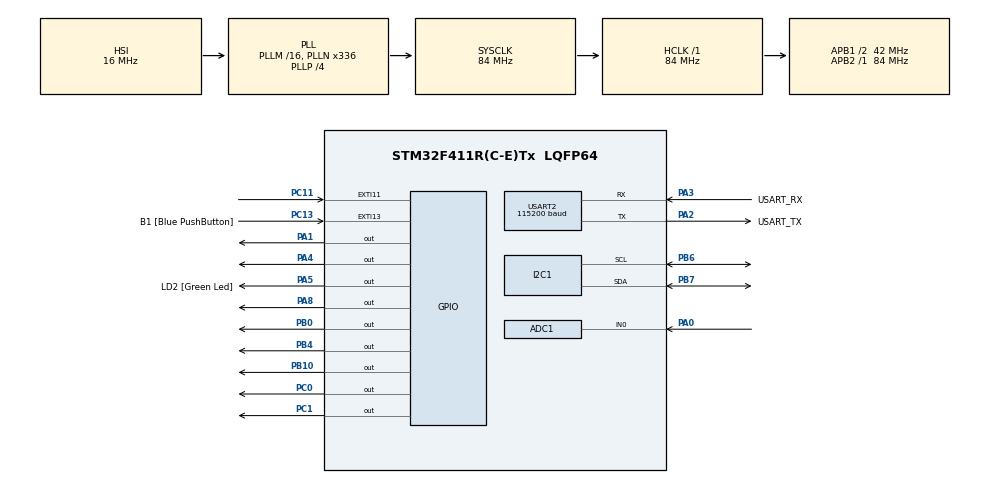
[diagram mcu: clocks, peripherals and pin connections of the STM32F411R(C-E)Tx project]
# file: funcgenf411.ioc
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ADC1.Channel-0\#ChannelRegularConversion=ADC_CHANNEL_0
ADC1.NbrOfConversion=1
ADC1.NbrOfConversionFlag=1
ADC1.Rank-0\#ChannelRegularConversion=1
ADC1.SamplingTime-0\#ChannelRegularConversion=ADC_SAMPLETIME_3CYCLES
ADC1.ScanConvMode=ENABLE
ADC1.master=1
I2C1.I2C_Mode=I2C_Fast
Mcu.Family=STM32F4
Mcu.Name=STM32F411R(C-E)Tx
Mcu.Package=LQFP64
NVIC.EXTI15_10_IRQn=true\:0\:0\:false\:false\:true\:true\:true\:true
NVIC.PriorityGroup=NVIC_PRIORITYGROUP_0
NVIC.TIM1_UP_TIM10_IRQn=true\:0\:0\:false\:false\:true\:true\:true\:true
NVIC.TIM3_IRQn=true\:0\:0\:false\:false\:true\:true\:true\:true
PA0-WKUP.Signal=ADCx_IN0
PA1.Signal=GPIO_Output
PA13.GPIO_Label=TMS
PA13.Mode=Serial_Wire
PA13.Signal=SYS_JTMS-SWDIO
PA14.GPIO_Label=TCK
PA14.Mode=Serial_Wire
PA14.Signal=SYS_JTCK-SWCLK
PA2.GPIO_Label=USART_TX
PA2.Mode=Asynchronous
PA2.Signal=USART2_TX
PA3.GPIO_Label=USART_RX
PA3.Mode=Asynchronous
PA3.Signal=USART2_RX
PA4.Signal=GPIO_Output
PA5.GPIO_Label=LD2 [Green Led]
PA5.Signal=GPIO_Output
PA8.GPIO_ModeDefaultOutputPP=GPIO_MODE_OUTPUT_PP
PA8.GPIO_PuPd=GPIO_NOPULL
PA8.PinState=GPIO_PIN_RESET
PA8.Signal=GPIO_Output
PB0.Signal=GPIO_Output
PB10.GPIO_ModeDefaultOutputPP=GPIO_MODE_OUTPUT_PP
PB10.GPIO_PuPd=GPIO_NOPULL
PB10.PinState=GPIO_PIN_RESET
PB10.Signal=GPIO_Output
PB3.GPIO_Label=SWO
PB3.Signal=SYS_JTDO-SWO
PB4.GPIO_ModeDefaultOutputPP=GPIO_MODE_OUTPUT_PP
PB4.GPIO_PuPd=GPIO_NOPULL
PB4.PinState=GPIO_PIN_RESET
PB4.Signal=GPIO_Output
PB6.Mode=I2C
PB6.Signal=I2C1_SCL
PB7.Mode=I2C
PB7.Signal=I2C1_SDA
PC0.Signal=GPIO_Output
PC1.Signal=GPIO_Output
PC11.GPIO_ModeDefaultEXTI=GPIO_MODE_IT_FALLING
PC11.GPIO_PuPd=GPIO_PULLUP
PC11.Signal=GPXTI11
PC13-ANTI_TAMP.GPIO_Label=B1 [Blue PushButton]
PC13-ANTI_TAMP.GPIO_ModeDefaultEXTI=GPIO_MODE_IT_FALLING
PC13-ANTI_TAMP.Signal=GPXTI13
PC14-OSC32_IN.Mode=LSE-External-Oscillator
PC14-OSC32_IN.Signal=RCC_OSC32_IN
PC15-OSC32_OUT.Mode=LSE-External-Oscillator
PC15-OSC32_OUT.Signal=RCC_OSC32_OUT
PH0\ -\ OSC_IN.Mode=HSE-External-Clock-Source
PH0\ -\ OSC_IN.Signal=RCC_OSC_IN
PH1\ -\ OSC_OUT.Mode=HSE-External-Clock-Source
PH1\ -\ OSC_OUT.Signal=RCC_OSC_OUT
ProjectManager.HeapSize=0x200
ProjectManager.StackSize=0x400
ProjectManager.TargetToolchain=STM32CubeIDE
RCC.48MHZClocksFreq_Value=84000000
RCC.AHBFreq_Value=84000000
RCC.APB1CLKDivider=RCC_HCLK_DIV2
RCC.APB1Freq_Value=42000000
RCC.APB1TimFreq_Value=84000000
RCC.APB2Freq_Value=84000000
RCC.APB2TimFreq_Value=84000000
RCC.CortexFreq_Value=84000000
RCC.FLatency-AdvancedSettings=FLASH_LATENCY_2
RCC.HCLKFreq_Value=84000000
RCC.HSE_VALUE=8000000
RCC.HSI_VALUE=16000000
RCC.PLLN=336
RCC.PLLP=RCC_PLLP_DIV4
RCC.SYSCLKFreq_VALUE=84000000
RCC.SYSCLKSource=RCC_SYSCLKSOURCE_PLLCLK
RCC.VCOOutputFreq_Value=336000000
SH.ADCx_IN0.0=ADC1_IN0,IN0
TIM1.ClockDivision=TIM_CLOCKDIVISION_DIV1
TIM1.Period=1023
TIM1.Prescaler=84
TIM1.RepetitionCounter=0
TIM3.Period=10000
TIM3.Prescaler=8400
USART2.BaudRate=115200
USART2.VirtualMode=VM_ASYNC
VP_TIM1_VS_ClockSourceINT.Mode=Internal
VP_TIM3_VS_ClockSourceINT.Mode=Internal
board=NUCLEO-F411RE

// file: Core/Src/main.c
/* USER CODE BEGIN Header */
/**
  ******************************************************************************
  * @file           : main.c
  * @brief          : Main program body
  ******************************************************************************
  * @attention
  *
  * Copyright (c) 2025 STMicroelectronics.
  * All rights reserved.
  *
  * This software is licensed under terms that can be found in the LICENSE file
  * in the root directory of this software component.
  * If no LICENSE file comes with this software, it is provided AS-IS.
  *
  ******************************************************************************
  */
/* USER CODE END Header */
#include "main.h"

/* USER CODE BEGIN Includes */
#include "ssd1306.h"
#include "fonts.h"
#include "stdio.h"
/* USER CODE END Includes */

ADC_HandleTypeDef hadc1;

I2C_HandleTypeDef hi2c1;

TIM_HandleTypeDef htim1;
TIM_HandleTypeDef htim3;

UART_HandleTypeDef huart2;

/* USER CODE BEGIN PV */

// sin lookup table from -pi/2 to pi/2 - normalized so that values are between 0 and 1
float sinlookup[256] = {3.7649080427748505e-05, 0.00015059065189787502, 0.0003388077058252281, 0.0006022718974137975, 0.0009409435499254104, 0.0013547716606548965,
0.0018436939086109994, 0.002407636663901591, 0.0030465149988219697, 0.0037602327006450165, 0.004548682286109995,
0.005411745017609493, 0.006349290921070783, 0.007361178805529389, 0.008447256284391857, 0.009607359798384785,
0.010841314640186173, 0.012148934980735715, 0.013530023897219967, 0.014984373402728013, 0.016511764477573965,
0.01811196710228008, 0.019784740292217107, 0.021529832133895532, 0.023346979822903124, 0.025235909703481663,
0.02719633730973936, 0.029227967408489597, 0.031330494043712576, 0.03350360058263058, 0.035746959763392205,
0.03806023374435663, 0.040443074154971115, 0.042895122148234655, 0.04541600845473881, 0.04800535343827833,
0.05066276715302309, 0.05338784940224234, 0.05618018979857303, 0.05903936782582253, 0.0619649529022967,
0.06495650444564433, 0.06801357193920665, 0.07113569499986394, 0.0743224034473674, 0.07757321737514644,
0.08088764722258102, 0.08426519384872738, 0.08770534860748735, 0.09120759342420814, 0.09477140087370262,
0.09839623425967758, 0.10208154769555827, 0.10582678618669689, 0.10963138571395276, 0.11349477331863156,
0.11741636718877052, 0.12139557674675772, 0.12543180273827037, 0.12952443732252045, 0.1336728641637936,
0.13787645852426655, 0.1421345873580907, 0.14644660940672627, 0.15081187529551354, 0.15522972763146659,
0.1596995011022735, 0.16422052257649083, 0.1687921112049141, 0.17341357852311162, 0.1780842285551043,
0.18280335791817726, 0.18757025592880683, 0.1923842047096866, 0.19724447929783723, 0.20215034775378332,
0.20710107127178057, 0.21209590429107733, 0.21713409460819344, 0.2222148834901989, 0.22733750578897677,
0.23250119005645137, 0.23770515866076558, 0.24294862790338917, 0.2482308081371412, 0.253550903885108,
0.2589081139604386, 0.26430163158700115, 0.26973064452088, 0.27519433517269676, 0.28069188073073614,
0.28622245328485896, 0.29178521995118134, 0.2973793429975051, 0.303003979969476, 0.3086582838174551,
0.3143414030240812, 0.3200524817325059, 0.3257906598752828, 0.33155507330389, 0.33734485391886854,
0.34315912980055424, 0.3489970253403859, 0.35485766137276886, 0.3607401553074735, 0.3666436212625508,
0.3725671701977427, 0.37850991004836804, 0.3844709458596644, 0.39044937992156514, 0.39644431190389073,
0.4024548389919359, 0.4084800560224295, 0.41451905561984936, 0.4205709283330693, 0.42663476277231915,
0.4327096457464369, 0.4387946624003919, 0.44488889635305845, 0.45099142983521967, 0.4571013438277801,
0.46321771820016633, 0.4693396318488957, 0.47546616283629095, 0.4815963885293205, 0.4877293857385439,
0.49386423085714004, 0.5, 0.50613576914286, 0.5122706142614561, 0.5184036114706795,
0.524533837163709, 0.5306603681511043, 0.5367822817998337, 0.5428986561722199, 0.5490085701647803,
0.5551111036469416, 0.5612053375996081, 0.5672903542535631, 0.5733652372276808, 0.5794290716669307,
0.5854809443801506, 0.5915199439775705, 0.5975451610080641, 0.6035556880961093, 0.6095506200784349,
0.6155290541403355, 0.621490089951632, 0.6274328298022573, 0.6333563787374492, 0.6392598446925265,
0.6451423386272311, 0.6510029746596141, 0.6568408701994457, 0.6626551460811314, 0.66844492669611,
0.6742093401247172, 0.6799475182674941, 0.6856585969759188, 0.6913417161825449, 0.6969960200305241,
0.7026206570024949, 0.7082147800488185, 0.7137775467151409, 0.7193081192692637, 0.7248056648273034,
0.7302693554791201, 0.7356983684129988, 0.7410918860395614, 0.746449096114892, 0.7517691918628588,
0.7570513720966108, 0.7622948413392344, 0.7674988099435485, 0.7726624942110232, 0.7777851165098011,
0.7828659053918067, 0.7879040957089227, 0.7928989287282194, 0.7978496522462166, 0.8027555207021628,
0.8076157952903134, 0.8124297440711932, 0.8171966420818226, 0.8219157714448957, 0.8265864214768883,
0.831207888795086, 0.8357794774235092, 0.8403004988977265, 0.8447702723685335, 0.8491881247044865,
0.8535533905932737, 0.8578654126419093, 0.8621235414757334, 0.8663271358362064, 0.8704755626774795,
0.8745681972617296, 0.8786044232532424, 0.8825836328112295, 0.8865052266813684, 0.8903686142860472,
0.8941732138133032, 0.8979184523044417, 0.9016037657403224, 0.9052285991262974, 0.9087924065757917,
0.9122946513925125, 0.9157348061512727, 0.919112352777419, 0.9224267826248536, 0.9256775965526326,
0.9288643050001361, 0.9319864280607933, 0.9350434955543556, 0.9380350470977032, 0.9409606321741775,
0.9438198102014269, 0.9466121505977576, 0.9493372328469769, 0.9519946465617217, 0.9545839915452612,
0.9571048778517653, 0.9595569258450289, 0.9619397662556434, 0.9642530402366079, 0.9664963994173694,
0.9686695059562874, 0.9707720325915103, 0.9728036626902606, 0.9747640902965183, 0.9766530201770969,
0.9784701678661045, 0.9802152597077829, 0.98188803289772, 0.983488235522426, 0.985015626597272,
0.98646997610278, 0.9878510650192642, 0.9891586853598138, 0.9903926402016152, 0.9915527437156082,
0.9926388211944706, 0.9936507090789293, 0.9945882549823906, 0.99545131771389, 0.996239767299355,
0.9969534850011781, 0.9975923633360984, 0.998156306091389, 0.9986452283393451, 0.9990590564500745,
0.9993977281025862, 0.9996611922941747, 0.9998494093481021, 0.9999623509195723, 1.0,
};
// all possible dac output values are calculated once
float Vout_possible_values[256] = {};

// This consists of PRE-CALCULATED 256 values for each quadrant of sine wave (clock is automatically divided into 1024 steps per function period)
// Values represent voltages, as indices of Vout_possible_values
uint8_t sin_voltage_steps[1024] = {};

/*
 * 0 = sine
 * 1 = square
 * 2 = triangle
 * 3 = saw
 */
volatile uint8_t func_mode = 3;
volatile uint8_t MODE_GENERATION = 0; // Function generation is done only when this is 1
volatile float f = 500; // Tool global target frequency
volatile float f_temp = 0;
volatile uint8_t button_pressed = 0;

volatile uint8_t request_display_refresh = 0;
char oled_buffer_line1[10] = {0};
char oled_buffer_line2[10] = {0};
// Copy buffers for prev/current display content comparison so display can be updated without clearing
char new_oled_buffer_line1[10] = {0};
char new_oled_buffer_line2[10] = {0};

#define CPU_FREQ 84e6  // TIM1 frequency (Clock configuration APB2)
#define FMAX 25e3      // Tool maximum frequency
#define OLEDFONTWIDTH 11  // see fonts.h
// If button is pressed for X consecutive ticks, it is a long press
#define LONGPRESSFACTOR 0b00111111

/* USER CODE END PV */

void SystemClock_Config(void);
static void MX_GPIO_Init(void);
static void MX_USART2_UART_Init(void);
static void MX_TIM1_Init(void);
static void MX_TIM3_Init(void);
static void MX_I2C1_Init(void);
static void MX_ADC1_Init(void);

/* USER CODE BEGIN 0 */
void dac_out(uint8_t);
void sinefunc(void);
void squarefunc(void);
void trianglefunc(void);
void sawfunc(void);
void calc_dac_values(void);
void print_to_oled(char*, char*);
void refresh_menu_display(void);
/* USER CODE END 0 */

int main(void)
{

  /* MCU Configuration--------------------------------------------------------*/

  /* Reset of all peripherals, Initializes the Flash interface and the Systick. */
  HAL_Init();

  /* Configure the system clock */
  SystemClock_Config();

  /* Initialize all configured peripherals */
  MX_GPIO_Init();
  MX_USART2_UART_Init();
  MX_TIM1_Init();
  MX_TIM3_Init();
  MX_I2C1_Init();
  MX_ADC1_Init();
  /* USER CODE BEGIN 2 */
  // Determine all possible dac combinations:voltage values; do once on startup
  calc_dac_values();

  SSD1306_Init ();
  request_display_refresh = 1;
  htim1.Instance->PSC = 8400;
  htim1.Instance->CCR1 = 1023;  // DAC clock has 1024 samples per frequency period
  HAL_TIM_Base_Start_IT(&htim1);
  htim3.Instance->PSC = 8400;
  // This determines short press duration (and long press but it is multiplied by a factor)
  htim3.Instance->ARR = 800;
  HAL_TIM_Base_Start_IT(&htim3);

  /* USER CODE END 2 */

  /* Infinite loop */
  /* USER CODE BEGIN WHILE */
  while (1)
  {
	  if (MODE_GENERATION){
		  HAL_TIM_Base_Stop_IT(&htim1);
		  switch(func_mode){
		  case 0:
			  request_display_refresh = 1;
			  refresh_menu_display();
			  sinefunc();
			  break;
		  case 1:
			  request_display_refresh = 1;
			  refresh_menu_display();
			  squarefunc();
			  break;
		  case 2:
			  request_display_refresh = 1;
			  refresh_menu_display();
			  trianglefunc();
			  break;
		  case 3:
			  request_display_refresh = 1;
			  refresh_menu_display();
			  sawfunc();
			  break;
		  }
	  } else {
		  // In selection menu
		  refresh_menu_display();
	  }

    /* USER CODE END WHILE */

  }
}

void SystemClock_Config(void)
{
  RCC_OscInitTypeDef RCC_OscInitStruct = {0};
  RCC_ClkInitTypeDef RCC_ClkInitStruct = {0};

  /** Configure the main internal regulator output voltage
  */
  __HAL_RCC_PWR_CLK_ENABLE();
  __HAL_PWR_VOLTAGESCALING_CONFIG(PWR_REGULATOR_VOLTAGE_SCALE1);

  /** Initializes the RCC Oscillators according to the specified parameters
  * in the RCC_OscInitTypeDef structure.
  */
  RCC_OscInitStruct.OscillatorType = RCC_OSCILLATORTYPE_HSI;
  RCC_OscInitStruct.HSIState = RCC_HSI_ON;
  RCC_OscInitStruct.HSICalibrationValue = RCC_HSICALIBRATION_DEFAULT;
  RCC_OscInitStruct.PLL.PLLState = RCC_PLL_ON;
  RCC_OscInitStruct.PLL.PLLSource = RCC_PLLSOURCE_HSI;
  RCC_OscInitStruct.PLL.PLLM = 16;
  RCC_OscInitStruct.PLL.PLLN = 336;
  RCC_OscInitStruct.PLL.PLLP = RCC_PLLP_DIV4;
  RCC_OscInitStruct.PLL.PLLQ = 4;
  if (HAL_RCC_OscConfig(&RCC_OscInitStruct) != HAL_OK)
  {
    Error_Handler();
  }

  /** Initializes the CPU, AHB and APB buses clocks
  */
  RCC_ClkInitStruct.ClockType = RCC_CLOCKTYPE_HCLK|RCC_CLOCKTYPE_SYSCLK
                              |RCC_CLOCKTYPE_PCLK1|RCC_CLOCKTYPE_PCLK2;
  RCC_ClkInitStruct.SYSCLKSource = RCC_SYSCLKSOURCE_PLLCLK;
  RCC_ClkInitStruct.AHBCLKDivider = RCC_SYSCLK_DIV1;
  RCC_ClkInitStruct.APB1CLKDivider = RCC_HCLK_DIV2;
  RCC_ClkInitStruct.APB2CLKDivider = RCC_HCLK_DIV1;

  if (HAL_RCC_ClockConfig(&RCC_ClkInitStruct, FLASH_LATENCY_2) != HAL_OK)
  {
    Error_Handler();
  }
}

static void MX_ADC1_Init(void)
{

  ADC_ChannelConfTypeDef sConfig = {0};

  /** Configure the global features of the ADC (Clock, Resolution, Data Alignment and number of conversion)
  */
  hadc1.Instance = ADC1;
  hadc1.Init.ClockPrescaler = ADC_CLOCK_SYNC_PCLK_DIV4;
  hadc1.Init.Resolution = ADC_RESOLUTION_12B;
  hadc1.Init.ScanConvMode = ENABLE;
  hadc1.Init.ContinuousConvMode = DISABLE;
  hadc1.Init.DiscontinuousConvMode = DISABLE;
  hadc1.Init.ExternalTrigConvEdge = ADC_EXTERNALTRIGCONVEDGE_NONE;
  hadc1.Init.ExternalTrigConv = ADC_SOFTWARE_START;
  hadc1.Init.DataAlign = ADC_DATAALIGN_RIGHT;
  hadc1.Init.NbrOfConversion = 1;
  hadc1.Init.DMAContinuousRequests = DISABLE;
  hadc1.Init.EOCSelection = ADC_EOC_SINGLE_CONV;
  if (HAL_ADC_Init(&hadc1) != HAL_OK)
  {
    Error_Handler();
  }

  /** Configure for the selected ADC regular channel its corresponding rank in the sequencer and its sample time.
  */
  sConfig.Channel = ADC_CHANNEL_0;
  sConfig.Rank = 1;
  sConfig.SamplingTime = ADC_SAMPLETIME_3CYCLES;
  if (HAL_ADC_ConfigChannel(&hadc1, &sConfig) != HAL_OK)
  {
    Error_Handler();
  }

}

static void MX_I2C1_Init(void)
{

  hi2c1.Instance = I2C1;
  hi2c1.Init.ClockSpeed = 400000;
  hi2c1.Init.DutyCycle = I2C_DUTYCYCLE_2;
  hi2c1.Init.OwnAddress1 = 0;
  hi2c1.Init.AddressingMode = I2C_ADDRESSINGMODE_7BIT;
  hi2c1.Init.DualAddressMode = I2C_DUALADDRESS_DISABLE;
  hi2c1.Init.OwnAddress2 = 0;
  hi2c1.Init.GeneralCallMode = I2C_GENERALCALL_DISABLE;
  hi2c1.Init.NoStretchMode = I2C_NOSTRETCH_DISABLE;
  if (HAL_I2C_Init(&hi2c1) != HAL_OK)
  {
    Error_Handler();
  }

}

static void MX_TIM1_Init(void)
{

  TIM_ClockConfigTypeDef sClockSourceConfig = {0};
  TIM_MasterConfigTypeDef sMasterConfig = {0};

  htim1.Instance = TIM1;
  htim1.Init.Prescaler = 84;
  htim1.Init.CounterMode = TIM_COUNTERMODE_UP;
  htim1.Init.Period = 1023;
  htim1.Init.ClockDivision = TIM_CLOCKDIVISION_DIV1;
  htim1.Init.RepetitionCounter = 0;
  htim1.Init.AutoReloadPreload = TIM_AUTORELOAD_PRELOAD_DISABLE;
  if (HAL_TIM_Base_Init(&htim1) != HAL_OK)
  {
    Error_Handler();
  }
  sClockSourceConfig.ClockSource = TIM_CLOCKSOURCE_INTERNAL;
  if (HAL_TIM_ConfigClockSource(&htim1, &sClockSourceConfig) != HAL_OK)
  {
    Error_Handler();
  }
  sMasterConfig.MasterOutputTrigger = TIM_TRGO_RESET;
  sMasterConfig.MasterSlaveMode = TIM_MASTERSLAVEMODE_DISABLE;
  if (HAL_TIMEx_MasterConfigSynchronization(&htim1, &sMasterConfig) != HAL_OK)
  {
    Error_Handler();
  }

}

static void MX_TIM3_Init(void)
{

  TIM_ClockConfigTypeDef sClockSourceConfig = {0};
  TIM_MasterConfigTypeDef sMasterConfig = {0};

  htim3.Instance = TIM3;
  htim3.Init.Prescaler = 8400;
  htim3.Init.CounterMode = TIM_COUNTERMODE_UP;
  htim3.Init.Period = 10000;
  htim3.Init.ClockDivision = TIM_CLOCKDIVISION_DIV1;
  htim3.Init.AutoReloadPreload = TIM_AUTORELOAD_PRELOAD_DISABLE;
  if (HAL_TIM_Base_Init(&htim3) != HAL_OK)
  {
    Error_Handler();
  }
  sClockSourceConfig.ClockSource = TIM_CLOCKSOURCE_INTERNAL;
  if (HAL_TIM_ConfigClockSource(&htim3, &sClockSourceConfig) != HAL_OK)
  {
    Error_Handler();
  }
  sMasterConfig.MasterOutputTrigger = TIM_TRGO_RESET;
  sMasterConfig.MasterSlaveMode = TIM_MASTERSLAVEMODE_DISABLE;
  if (HAL_TIMEx_MasterConfigSynchronization(&htim3, &sMasterConfig) != HAL_OK)
  {
    Error_Handler();
  }

}

static void MX_USART2_UART_Init(void)
{

  huart2.Instance = USART2;
  huart2.Init.BaudRate = 115200;
  huart2.Init.WordLength = UART_WORDLENGTH_8B;
  huart2.Init.StopBits = UART_STOPBITS_1;
  huart2.Init.Parity = UART_PARITY_NONE;
  huart2.Init.Mode = UART_MODE_TX_RX;
  huart2.Init.HwFlowCtl = UART_HWCONTROL_NONE;
  huart2.Init.OverSampling = UART_OVERSAMPLING_16;
  if (HAL_UART_Init(&huart2) != HAL_OK)
  {
    Error_Handler();
  }

}

static void MX_GPIO_Init(void)
{
  GPIO_InitTypeDef GPIO_InitStruct = {0};

  /* GPIO Ports Clock Enable */
  __HAL_RCC_GPIOC_CLK_ENABLE();
  __HAL_RCC_GPIOH_CLK_ENABLE();
  __HAL_RCC_GPIOA_CLK_ENABLE();
  __HAL_RCC_GPIOB_CLK_ENABLE();

  /*Configure GPIO pin Output Level */
  HAL_GPIO_WritePin(GPIOC, GPIO_PIN_0|GPIO_PIN_1, GPIO_PIN_RESET);

  /*Configure GPIO pin Output Level */
  HAL_GPIO_WritePin(GPIOA, GPIO_PIN_1|GPIO_PIN_4|LD2_Pin|GPIO_PIN_8, GPIO_PIN_RESET);

  /*Configure GPIO pin Output Level */
  HAL_GPIO_WritePin(GPIOB, GPIO_PIN_0|GPIO_PIN_10|GPIO_PIN_4, GPIO_PIN_RESET);

  /*Configure GPIO pin : B1_Pin */
  GPIO_InitStruct.Pin = B1_Pin;
  GPIO_InitStruct.Mode = GPIO_MODE_IT_FALLING;
  GPIO_InitStruct.Pull = GPIO_NOPULL;
  HAL_GPIO_Init(B1_GPIO_Port, &GPIO_InitStruct);

  /*Configure GPIO pins : PC0 PC1 */
  GPIO_InitStruct.Pin = GPIO_PIN_0|GPIO_PIN_1;
  GPIO_InitStruct.Mode = GPIO_MODE_OUTPUT_PP;
  GPIO_InitStruct.Pull = GPIO_NOPULL;
  GPIO_InitStruct.Speed = GPIO_SPEED_FREQ_LOW;
  HAL_GPIO_Init(GPIOC, &GPIO_InitStruct);

  /*Configure GPIO pins : PA1 PA4 LD2_Pin PA8 */
  GPIO_InitStruct.Pin = GPIO_PIN_1|GPIO_PIN_4|LD2_Pin|GPIO_PIN_8;
  GPIO_InitStruct.Mode = GPIO_MODE_OUTPUT_PP;
  GPIO_InitStruct.Pull = GPIO_NOPULL;
  GPIO_InitStruct.Speed = GPIO_SPEED_FREQ_LOW;
  HAL_GPIO_Init(GPIOA, &GPIO_InitStruct);

  /*Configure GPIO pins : PB0 PB10 PB4 */
  GPIO_InitStruct.Pin = GPIO_PIN_0|GPIO_PIN_10|GPIO_PIN_4;
  GPIO_InitStruct.Mode = GPIO_MODE_OUTPUT_PP;
  GPIO_InitStruct.Pull = GPIO_NOPULL;
  GPIO_InitStruct.Speed = GPIO_SPEED_FREQ_LOW;
  HAL_GPIO_Init(GPIOB, &GPIO_InitStruct);

  /*Configure GPIO pin : PC11 */
  GPIO_InitStruct.Pin = GPIO_PIN_11;
  GPIO_InitStruct.Mode = GPIO_MODE_IT_FALLING;
  GPIO_InitStruct.Pull = GPIO_PULLUP;
  HAL_GPIO_Init(GPIOC, &GPIO_InitStruct);

  /* EXTI interrupt init*/
  HAL_NVIC_SetPriority(EXTI15_10_IRQn, 0, 0);
  HAL_NVIC_EnableIRQ(EXTI15_10_IRQn);

}

/* USER CODE BEGIN 4 */
// Initialize string to "\0\0\0..."
void strclr(char *str, uint8_t len){
	for (int i = 0; i < len; i++){
		str[i] = 0;
	}
}

void refresh_menu_display(){
	if (!request_display_refresh) return;
	if (func_mode == 0){
		sprintf(&new_oled_buffer_line1, "SIN      ");
	} else if (func_mode == 1){
		sprintf(&new_oled_buffer_line1, "SQUARE   ");
	} else if (func_mode == 2){
		sprintf(&new_oled_buffer_line1, "TRIANGLE  ");
	} else if (func_mode == 3){
		sprintf(&new_oled_buffer_line1, "SAW      ");
	}
	if (!MODE_GENERATION){
		// Display "W" to indicate that we are in menu
		new_oled_buffer_line1[8] = 'W';
	}
	new_oled_buffer_line1[9] = '\0';
	// Fill line2 with frequency info
	sprintf(&new_oled_buffer_line2, "%d Hz%c", (uint16_t) f, '\0');
	uint8_t break_string = 0;
	// update only parts that have changed to reduce flickering
	for (int i = 0; i < 9; i++){
		if(!new_oled_buffer_line1[i]) break_string=1;
		if (break_string){
			SSD1306_GotoXY(10+i*OLEDFONTWIDTH,10);
			SSD1306_Putc(' ', &Font_11x18, 1);
		} else {
			if (new_oled_buffer_line1[i] < 32 || new_oled_buffer_line1[i] >= 126) continue;
			if (oled_buffer_line1[i] != new_oled_buffer_line1[i]){
				SSD1306_GotoXY(10+i*OLEDFONTWIDTH,10);
				SSD1306_Putc(new_oled_buffer_line1[i], &Font_11x18, 1);
			}
		}
	}
	break_string = 0;
	for (int i = 0; i < 9; i++){
		if(!new_oled_buffer_line2[i]) break_string=1;
		if (break_string){
			SSD1306_GotoXY(10+i*OLEDFONTWIDTH,30);
			SSD1306_Putc(' ', &Font_11x18, 1);
		}
		else {
			if (new_oled_buffer_line2[i] < 32 || new_oled_buffer_line2[i] >= 126) continue;
			if (oled_buffer_line2[i] != new_oled_buffer_line2[i]){
				SSD1306_GotoXY(10+i*OLEDFONTWIDTH,30);
				SSD1306_Putc(new_oled_buffer_line2[i], &Font_11x18, 1);
			}
		}
	}
	strclr(oled_buffer_line1,9);
	strclr(oled_buffer_line2,9);
	sprintf(&oled_buffer_line1, &new_oled_buffer_line1);
	sprintf(&oled_buffer_line2, &new_oled_buffer_line2);
	SSD1306_UpdateScreen();
	request_display_refresh = 0;
}

// Runs only at startup
// Calculates this equation with every 8bit combination (Va-Vh)
// Vout = (1Va + 2Vb + 4Vc + 8Vd + 16Ve + 32Vf + 64Vg + 128Vh) / 256
void calc_dac_values(){
	    int sum = 0;
	    for (int i = 0; i < 256; i++){
			sum = 0;
			for (int j = 0 ; j<=7; j++){
				sum += ((i>>j)&1) * pow(2,j);
			}
		Vout_possible_values[i] = (sum/256.0);
	    }
}

// Run once when sine mode is started for optimization
// When a full sine period is divided into 1024 time steps, calculate each timestep voltage index (out of Vout_possible_values)
void calc_sin_steps(){
	int index = 0;
	for (int i = 0; i<1024; i++){
		index = 0;
		float fraction_of_period = (i*1.0)/1023.0;
		// first ¼ ´ 	sinlookup[128:-1]
		// second ¼ ` 	sinlookup[-1:128]
		// third ¼ ` 	sinlookup [128:0]
		// fourth ¼ ´ 	sinlookup[0:128]
		if (fraction_of_period < 1.0/4.0){
			index = 127 + (255*2 * fraction_of_period);
		} else if(fraction_of_period <= 2.0/4.0){
			index = 255 - (255*2 * (fraction_of_period-0.25));
		} else if(fraction_of_period <= 3.0/4.0){
			index = 128 - (255*2 * (fraction_of_period-0.5));
		} else {
			index = (255*2 * (fraction_of_period-0.75));
		}
		for (int j = 0; j<=255; j++){
			if (j==255){
				sin_voltage_steps[i] = 255;
				break;
			}
			else if (Vout_possible_values[j] < sinlookup[index] && Vout_possible_values[j+1] > sinlookup[index]){
				sin_voltage_steps[i] = j;
				break;
			}
		}
	}
}

// Sends parallel 8bit "digital out" to respective gpio pins
// input argument is precalculated 8bit value that matches with target voltage value
void dac_out(uint8_t val){
	  HAL_GPIO_WritePin(GPIOA, GPIO_PIN_8, val & (1<<0));
	  HAL_GPIO_WritePin(GPIOB, GPIO_PIN_10, val & (1<<1));
	  HAL_GPIO_WritePin(GPIOB, GPIO_PIN_4, val & (1<<2));
	  HAL_GPIO_WritePin(GPIOA, GPIO_PIN_1, val & (1<<3));
	  HAL_GPIO_WritePin(GPIOA, GPIO_PIN_4, val & (1<<4));
	  HAL_GPIO_WritePin(GPIOB, GPIO_PIN_0, val & (1<<5));
	  HAL_GPIO_WritePin(GPIOC, GPIO_PIN_1, val & (1<<6));
	  HAL_GPIO_WritePin(GPIOC, GPIO_PIN_0, val & (1<<7));
}

// Divide timer so that it only ticks 1024 times every 1/f
// (using 8 bit dac and more ticks doesn't bring any benefits, only makes code more complex ... maybe slower too?)
void prescale_timer(int16_t sinfreq){
	htim1.Instance->PSC = (CPU_FREQ*1.0) / (1024.0*sinfreq);
}

// Main loop when SINE is selected as tool mode
void sinefunc(){
	calc_sin_steps();
	prescale_timer(f);
	HAL_TIM_Base_Start(&htim1);
	while(MODE_GENERATION){
		dac_out(sin_voltage_steps[htim1.Instance->CNT]);
	}
	dac_out(0);  // reset gpio pin states
}

void squarefunc(){
	prescale_timer(f);
	uint16_t timstep = 0;
	HAL_TIM_Base_Start(&htim1);
	while(MODE_GENERATION){
		timstep = TIM1->CNT;
		if(timstep < 1024/2){
			dac_out(255);
		} else {
			dac_out(0);
		}
	}
	dac_out(0);
}

void trianglefunc(){
	prescale_timer(f);
	uint16_t timstep = 0;
	HAL_TIM_Base_Start(&htim1);
	while(MODE_GENERATION){
		timstep = TIM1->CNT;
		if(timstep < 1024/2){
			dac_out(timstep/2);
		} else {
			dac_out(255-(timstep/2));
		}
	}
	dac_out(0);
}

void sawfunc(){
	prescale_timer(f);
	uint16_t timstep = 0;
	HAL_TIM_Base_Start(&htim1);
	while(MODE_GENERATION){
		timstep = TIM1->CNT;
		dac_out(timstep/4-1);
	}
	dac_out(0);
}

// Rounds value to nearest 100
float round_frequency(float freq){
	return (float) ((uint16_t) freq - (uint16_t) freq % 100);
}

void HAL_TIM_PeriodElapsedCallback(TIM_HandleTypeDef *htim){
	// TIM3 is used for detecting button presses only
	if (htim->Instance==TIM3){
		uint8_t longpress = 0;
		if(!HAL_GPIO_ReadPin(GPIOC, GPIO_PIN_11)){
			button_pressed = (button_pressed << 1) | 1;
		} else {
			button_pressed = (button_pressed << 1) & ~1;
		}
		// Falling edge detection, button is released, check if it was pressed for a short time or held
		if ((button_pressed & 0b00000011) == 0b00000010){
			if (button_pressed >= LONGPRESSFACTOR){
					longpress = 1;
				}
			HAL_TIM_Base_Stop_IT(&htim1);
			// Button is clicked  in tool mode, ignore long presses
			if (MODE_GENERATION && !longpress){
				MODE_GENERATION = 0;  // return to menu mode
			// Button is clicked  in menu mode
			} else {
				// long press cycles functions, does not start tool mode
				if (longpress){
					func_mode++;
					if (func_mode > 3) {
						func_mode = 0;
					}
				// Button clicking starts tool mode in displayed function and frequency
				} else {
					MODE_GENERATION = 1;
				}
			}
			// clear button timing array after a command is detected
			button_pressed = 0;
			request_display_refresh = 1;
			refresh_menu_display();
			TIM1->CNT = 0;
			HAL_TIM_Base_Start_IT(&htim1);
		}
	}
	// TIM1 interrupts are used for potentiometer reading IN MENU MODE
	// TIM1 is also used in function timing IN TOOL MODE but without interrupts
	if (htim-> Instance==TIM1){
		float adcval = 0.0;
		HAL_ADC_Start(&hadc1);
		HAL_ADC_PollForConversion(&hadc1, 10);
		adcval = HAL_ADC_GetValue(&hadc1)/4095.0 * FMAX;
		f_temp = f;
		if (adcval < 50){
			f = 10;
		} else {
			f = round_frequency(adcval);
		}
		HAL_ADC_Stop(&hadc1);
		if (f < f_temp - 80 || f > f_temp + 80){  // hysteresis because adc setup is noisy...
			request_display_refresh = 1;
		} else {
			f = f_temp;  // Revert value if conditions aren't met
		}
	}
}

/* USER CODE END 4 */

void Error_Handler(void)
{
  __disable_irq();
  while (1)
  {
  }
}
